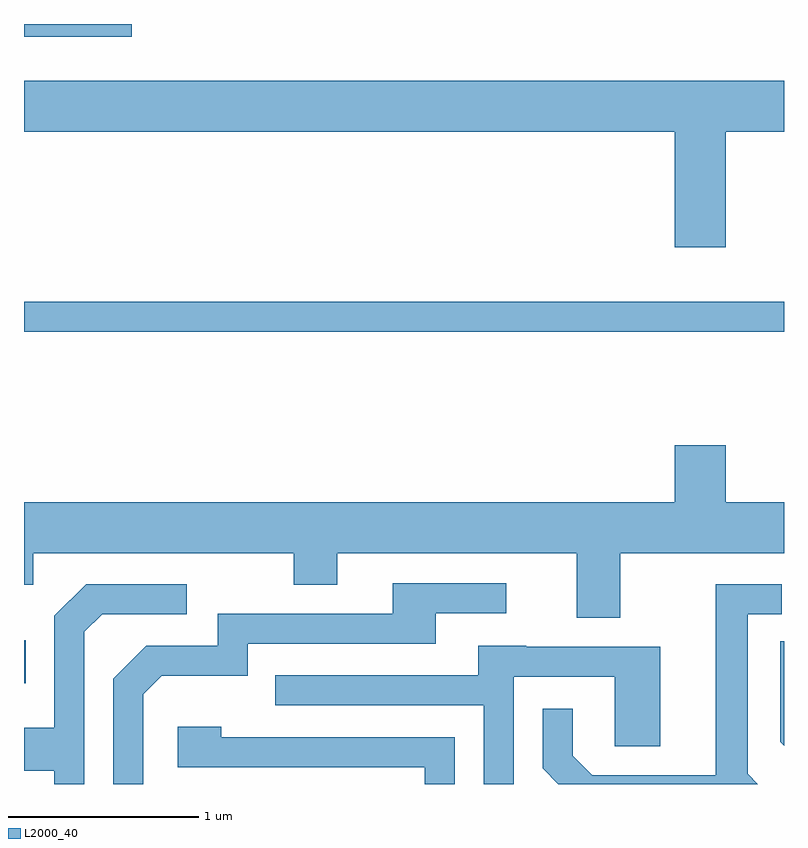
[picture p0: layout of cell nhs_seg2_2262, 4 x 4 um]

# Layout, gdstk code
import gdstk
lib = gdstk.Library(unit=1e-6, precision=1e-09)
def R(c, l, rs):  # rectangles x0, y0, x1, y1
    for r in rs: c.add(gdstk.rectangle(r[:2], r[2:], *l))
def P(c, l, *ps):  # polygons
    for p in ps: c.add(gdstk.Polygon(p, *l))
L2000_40 = (2000, 40)

nhs_seg2_2262 = lib.new_cell('nhs_seg2_2262')
R(nhs_seg2_2262, L2000_40, [(251.611,1014.331,251.619,1014.559), (251.611,1016.181,255.611,1016.339), (251.611,1017.736,252.178,1017.802)])
P(nhs_seg2_2262, L2000_40, [(255.304,1017.236),(255.611,1017.236),(255.611,1017.504),(251.611,1017.504),(251.611,1017.236),(255.036,1017.236),(255.036,1016.626),(255.304,1016.626)],
  [(254.749,1015.016),(255.611,1015.016),(255.611,1015.284),(255.304,1015.284),(255.304,1015.584),(255.036,1015.584),(255.036,1015.284),(251.611,1015.284),(251.611,1014.851),(251.659,1014.851),(251.659,1015.016),(253.031,1015.016),(253.031,1014.851),(253.259,1014.851),(253.259,1015.016),(254.521,1015.016),(254.521,1014.676),(254.749,1014.676)],
  [(252.239,1014.274),(252.337,1014.371),(252.789,1014.371),(252.789,1014.541),(253.779,1014.541),(253.779,1014.701),(254.148,1014.701),(254.148,1014.859),(253.551,1014.859),(253.551,1014.699),(252.631,1014.699),(252.631,1014.529),(252.254,1014.529),(252.081,1014.357),(252.081,1013.802),(252.239,1013.802)],
  [(251.929,1014.604),(252.022,1014.696),(252.468,1014.696),(252.468,1014.854),(251.939,1014.854),(251.771,1014.687),(251.771,1014.099),(251.611,1014.099),(251.611,1013.871),(251.771,1013.871),(251.771,1013.802),(251.929,1013.802)],
  [(255.419,1013.857),(255.419,1014.696),(255.598,1014.696),(255.598,1014.854),(255.251,1014.854),(255.251,1013.849),(254.602,1013.849),(254.499,1013.952),(254.499,1014.198),(254.341,1014.198),(254.341,1013.884),(254.423,1013.802),(255.474,1013.802)],
  [(255.611,1014.553),(255.591,1014.553),(255.591,1014.024),(255.611,1014.004)],
  [(254.189,1014.366),(254.721,1014.366),(254.721,1014.001),(254.959,1014.001),(254.959,1014.524),(254.255,1014.524),(254.255,1014.529),(254.001,1014.529),(254.001,1014.374),(252.933,1014.374),(252.933,1014.216),(254.031,1014.216),(254.031,1013.802),(254.189,1013.802)],
  [(253.879,1014.049),(252.649,1014.049),(252.649,1014.104),(252.421,1014.104),(252.421,1013.891),(253.721,1013.891),(253.721,1013.802),(253.879,1013.802)])

lib.write_gds('nhs_seg2_2262.gds')
